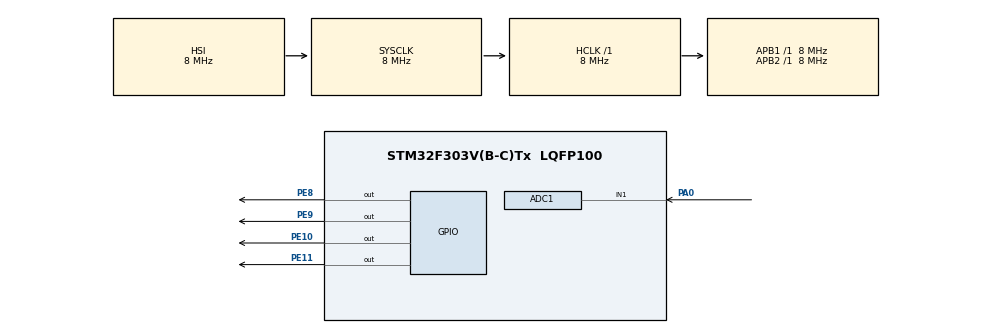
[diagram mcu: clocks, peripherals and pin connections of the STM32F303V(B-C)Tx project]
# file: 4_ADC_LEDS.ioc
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ADC1.Channel-0\#ChannelRegularConversion=ADC_CHANNEL_1
ADC1.ClockPrescaler=ADC_CLOCK_SYNC_PCLK_DIV2
ADC1.NbrOfConversionFlag=1
ADC1.Offset-0\#ChannelRegularConversion=0
ADC1.OffsetNumber-0\#ChannelRegularConversion=ADC_OFFSET_NONE
ADC1.Rank-0\#ChannelRegularConversion=1
ADC1.Resolution=ADC_RESOLUTION_8B
ADC1.SamplingTime-0\#ChannelRegularConversion=ADC_SAMPLETIME_1CYCLE_5
ADC1.master=1
Mcu.Family=STM32F3
Mcu.Name=STM32F303V(B-C)Tx
Mcu.Package=LQFP100
NVIC.PriorityGroup=NVIC_PRIORITYGROUP_4
PA0.Mode=IN1-Single-Ended
PA0.Signal=ADC1_IN1
PE10.Signal=GPIO_Output
PE11.Signal=GPIO_Output
PE8.Signal=GPIO_Output
PE9.Signal=GPIO_Output
ProjectManager.HeapSize=0x200
ProjectManager.StackSize=0x400
ProjectManager.TargetToolchain=MDK-ARM V5
RCC.AHBFreq_Value=8000000
RCC.APB1Freq_Value=8000000
RCC.APB2Freq_Value=8000000
RCC.CortexFreq_Value=8000000
RCC.HSE_VALUE=8000000
RCC.HSI_VALUE=8000000
RCC.LSE_VALUE=32768
RCC.PLLMUL=RCC_PLL_MUL4
RCC.SYSCLKFreq_VALUE=8000000
RCC.USBFreq_Value=16000000
board=4_ADC_LEDS

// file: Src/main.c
/**
  ******************************************************************************
  * File Name          : main.c
  * Description        : Main program body
  ******************************************************************************
  ** This notice applies to any and all portions of this file
  * that are not between comment pairs USER CODE BEGIN and
  * USER CODE END. Other portions of this file, whether
  * inserted by the user or by software development tools
  * are owned by their respective copyright owners.
  *
  * COPYRIGHT(c) 2022 STMicroelectronics
  *
  * Redistribution and use in source and binary forms, with or without modification,
  * are permitted provided that the following conditions are met:
  *   1. Redistributions of source code must retain the above copyright notice,
  *      this list of conditions and the following disclaimer.
  *   2. Redistributions in binary form must reproduce the above copyright notice,
  *      this list of conditions and the following disclaimer in the documentation
  *      and/or other materials provided with the distribution.
  *   3. Neither the name of STMicroelectronics nor the names of its contributors
  *      may be used to endorse or promote products derived from this software
  *      without specific prior written permission.
  *
  * THIS SOFTWARE IS PROVIDED BY THE COPYRIGHT HOLDERS AND CONTRIBUTORS "AS IS"
  * AND ANY EXPRESS OR IMPLIED WARRANTIES, INCLUDING, BUT NOT LIMITED TO, THE
  * IMPLIED WARRANTIES OF MERCHANTABILITY AND FITNESS FOR A PARTICULAR PURPOSE ARE
  * DISCLAIMED. IN NO EVENT SHALL THE COPYRIGHT HOLDER OR CONTRIBUTORS BE LIABLE
  * FOR ANY DIRECT, INDIRECT, INCIDENTAL, SPECIAL, EXEMPLARY, OR CONSEQUENTIAL
  * DAMAGES (INCLUDING, BUT NOT LIMITED TO, PROCUREMENT OF SUBSTITUTE GOODS OR
  * SERVICES; LOSS OF USE, DATA, OR PROFITS; OR BUSINESS INTERRUPTION) HOWEVER
  * CAUSED AND ON ANY THEORY OF LIABILITY, WHETHER IN CONTRACT, STRICT LIABILITY,
  * OR TORT (INCLUDING NEGLIGENCE OR OTHERWISE) ARISING IN ANY WAY OUT OF THE USE
  * OF THIS SOFTWARE, EVEN IF ADVISED OF THE POSSIBILITY OF SUCH DAMAGE.
  *
  ******************************************************************************
  */

#include "main.h"
#include "stm32f3xx_hal.h"
#include "adc.h"
#include "gpio.h"

/* USER CODE BEGIN PV */
/* Private variables ---------------------------------------------------------*/

/* USER CODE END PV */

void SystemClock_Config(void);

/* USER CODE BEGIN PFP */
/* Private function prototypes -----------------------------------------------*/

/* USER CODE END PFP */

/* USER CODE BEGIN 0 */

uint32_t adc_valor;

/* USER CODE END 0 */

int main(void)
{

  /* MCU Configuration----------------------------------------------------------*/

  /* Reset of all peripherals, Initializes the Flash interface and the Systick. */
  HAL_Init();

  /* Configure the system clock */
  SystemClock_Config();

  /* Initialize all configured peripherals */
  MX_GPIO_Init();
  MX_ADC1_Init();

  /* Infinite loop */
  while (1)
  {

  /* USER CODE BEGIN 3 */
		// Leemos el ADC
		HAL_ADC_Start(&hadc1); // Iniciamos el ADC
		if (HAL_ADC_PollForConversion(&hadc1, 5) == HAL_OK) // Espera un tiempo para hacer la conversiСn = 5ms
		{
				adc_valor = HAL_ADC_GetValue(&hadc1);
		}
		HAL_ADC_Stop(&hadc1); // Detenemos la conversiСn
		// Esperamos 100 ms
		HAL_Delay(100);
		// Prendemos los leds
		if (adc_valor >= 0 && adc_valor < 64)
		{
			HAL_GPIO_TogglePin(GPIOE, GPIO_PIN_8);
			HAL_GPIO_WritePin(GPIOE, ( GPIO_PIN_9 | GPIO_PIN_10 | GPIO_PIN_11), GPIO_PIN_RESET);
		}
		else if (adc_valor >= 64 && adc_valor < 128)
		{
			HAL_GPIO_TogglePin(GPIOE, (GPIO_PIN_8 | GPIO_PIN_9));
			HAL_GPIO_WritePin(GPIOE, (GPIO_PIN_10 | GPIO_PIN_11), GPIO_PIN_RESET);
		}
		else if (adc_valor >= 128 && adc_valor < 192)
		{
			HAL_GPIO_TogglePin(GPIOE, (GPIO_PIN_8 | GPIO_PIN_9 | GPIO_PIN_10));
			HAL_GPIO_WritePin(GPIOE, (GPIO_PIN_11), GPIO_PIN_RESET);
		}
		else
		{
			HAL_GPIO_TogglePin(GPIOE, (GPIO_PIN_8 | GPIO_PIN_9 | GPIO_PIN_10 | GPIO_PIN_11));
		}

  }
  /* USER CODE END 3 */

}

/** System Clock Configuration
*/
void SystemClock_Config(void)
{

  RCC_OscInitTypeDef RCC_OscInitStruct;
  RCC_ClkInitTypeDef RCC_ClkInitStruct;

    /**Initializes the CPU, AHB and APB busses clocks
    */
  RCC_OscInitStruct.OscillatorType = RCC_OSCILLATORTYPE_HSI;
  RCC_OscInitStruct.HSIState = RCC_HSI_ON;
  RCC_OscInitStruct.HSICalibrationValue = 16;
  RCC_OscInitStruct.PLL.PLLState = RCC_PLL_NONE;
  if (HAL_RCC_OscConfig(&RCC_OscInitStruct) != HAL_OK)
  {
    _Error_Handler(__FILE__, __LINE__);
  }

    /**Initializes the CPU, AHB and APB busses clocks
    */
  RCC_ClkInitStruct.ClockType = RCC_CLOCKTYPE_HCLK|RCC_CLOCKTYPE_SYSCLK
                              |RCC_CLOCKTYPE_PCLK1|RCC_CLOCKTYPE_PCLK2;
  RCC_ClkInitStruct.SYSCLKSource = RCC_SYSCLKSOURCE_HSI;
  RCC_ClkInitStruct.AHBCLKDivider = RCC_SYSCLK_DIV1;
  RCC_ClkInitStruct.APB1CLKDivider = RCC_HCLK_DIV1;
  RCC_ClkInitStruct.APB2CLKDivider = RCC_HCLK_DIV1;

  if (HAL_RCC_ClockConfig(&RCC_ClkInitStruct, FLASH_LATENCY_0) != HAL_OK)
  {
    _Error_Handler(__FILE__, __LINE__);
  }

    /**Configure the Systick interrupt time
    */
  HAL_SYSTICK_Config(HAL_RCC_GetHCLKFreq()/1000);

    /**Configure the Systick
    */
  HAL_SYSTICK_CLKSourceConfig(SYSTICK_CLKSOURCE_HCLK);

  /* SysTick_IRQn interrupt configuration */
  HAL_NVIC_SetPriority(SysTick_IRQn, 0, 0);
}

void _Error_Handler(char * file, int line)
{
  while(1)
  {
  }
}

/************************ (C) COPYRIGHT STMicroelectronics *****END OF FILE****/
